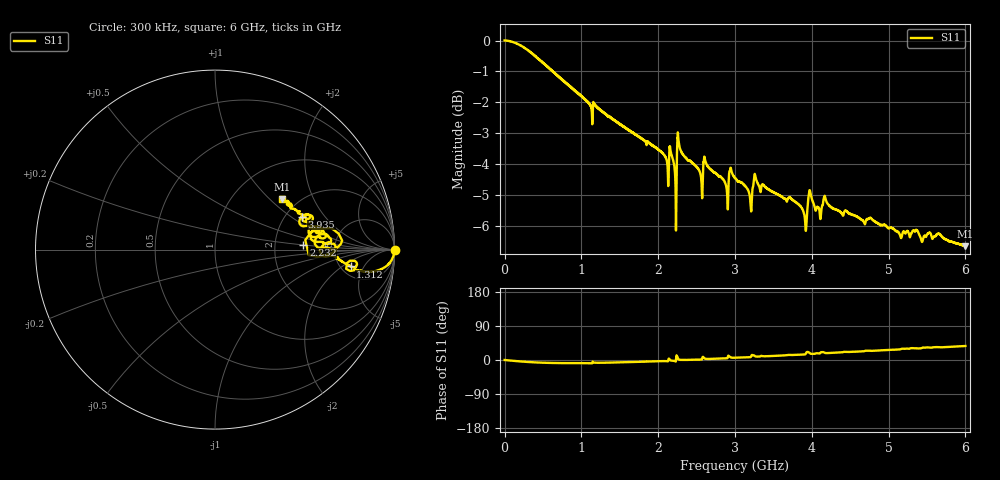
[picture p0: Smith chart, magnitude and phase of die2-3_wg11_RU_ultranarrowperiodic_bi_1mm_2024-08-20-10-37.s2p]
!Keysight Technologies,P9374A,MY57304198,A.17.20.09
!Date: Tuesday, August 20, 2024 10:37:19
!Correction: S11(C  1-Port  )
!S21(C  1-Port  )
!S12(Off)
!S22(Off)
!S2P File: Measurements: S11, S21, S12, S22:
# Hz S  dB  R 50
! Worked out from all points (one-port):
!   6000 points, 300 kHz to 6 GHz, reference 50 ohm
!   lowest |S11| = -6.6 dB at 6 GHz (marker M1), VSWR 2.74, Z = 82.8 + j59.2 ohm
!   |S11| at or under -10 dB: nowhere
!   S11 on the Smith chart (normalised r, x): 300 kHz: open; 1.312 GHz: 6.12, -2.74; 2.232 GHz: 2.93, +0.20; 3.935 GHz: 2.43, +1.22; 6 GHz: 1.66, +1.18
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300000  0.00 -0.0  -200.00 45.0  -200.00 45.0  -200.00 45.0
4.323504e8  -0.57 -6.6  -200.00 45.0  -200.00 45.0  -200.00 45.0
1.000417e9  -1.78 -8.3  -200.00 45.0  -200.00 45.0  -200.00 45.0
1.312453e9  -2.37 -7.1  -200.00 45.0  -200.00 45.0  -200.00 45.0
2.000533e9  -3.51 -3.2  -200.00 45.0  -200.00 45.0  -200.00 45.0
2.159552e9  -3.54 -1.1  -200.00 45.0  -200.00 45.0  -200.00 45.0
2.200557e9  -3.93 -2.2  -200.00 45.0  -200.00 45.0  -200.00 45.0
2.23156e9  -6.13 3.0  -200.00 45.0  -200.00 45.0  -200.00 45.0
2.277566e9  -3.43 0.6  -200.00 45.0  -200.00 45.0  -200.00 45.0
2.554598e9  -4.36 1.0  -200.00 45.0  -200.00 45.0  -200.00 45.0
2.617605e9  -3.92 3.1  -200.00 45.0  -200.00 45.0  -200.00 45.0
2.888637e9  -4.74 4.3  -200.00 45.0  -200.00 45.0  -200.00 45.0
2.935642e9  -4.20 8.3  -200.00 45.0  -200.00 45.0  -200.00 45.0
3.00065e9  -4.44 6.0  -200.00 45.0  -200.00 45.0  -200.00 45.0
3.177671e9  -4.87 7.1  -200.00 45.0  -200.00 45.0  -200.00 45.0
3.240678e9  -4.61 12.8  -200.00 45.0  -200.00 45.0  -200.00 45.0
3.302685e9  -4.65 9.0  -200.00 45.0  -200.00 45.0  -200.00 45.0
3.889754e9  -5.52 14.4  -200.00 45.0  -200.00 45.0  -200.00 45.0
3.934759e9  -5.74 20.9  -200.00 45.0  -200.00 45.0  -200.00 45.0
4.000767e9  -5.11 16.2  -200.00 45.0  -200.00 45.0  -200.00 45.0
5.000883e9  -6.07 26.6  -200.00 45.0  -200.00 45.0  -200.00 45.0
6e9  -6.64 37.0  -200.00 45.0  -200.00 45.0  -200.00 45.0
